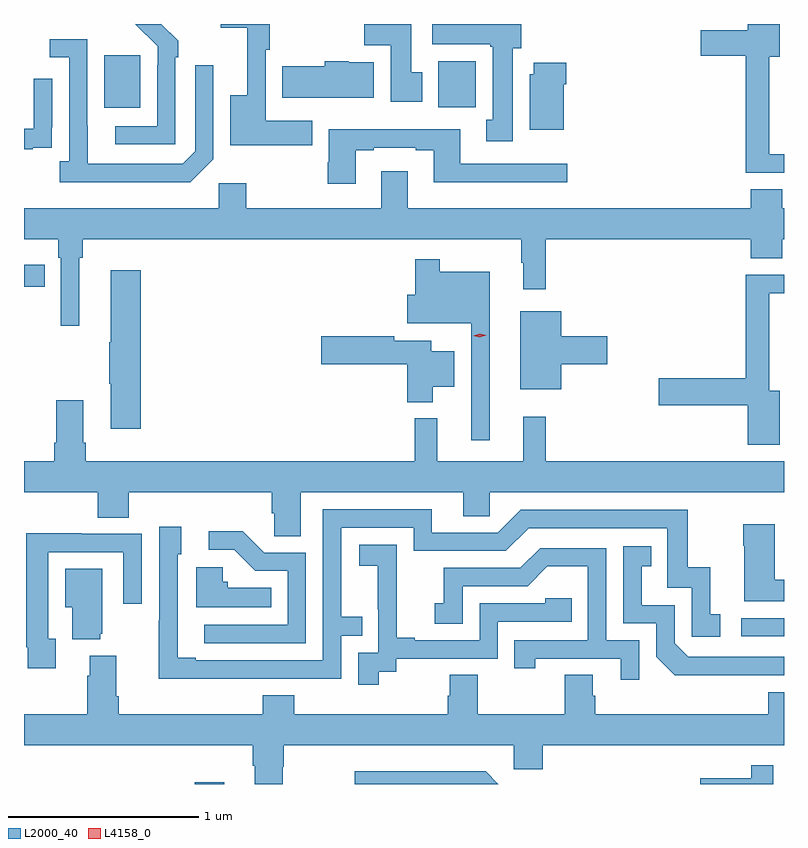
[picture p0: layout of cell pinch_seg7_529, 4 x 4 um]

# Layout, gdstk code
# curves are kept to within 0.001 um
import gdstk
lib = gdstk.Library(unit=1e-6, precision=1e-09)
def R(c, l, rs):  # rectangles x0, y0, x1, y1
    for r in rs: c.add(gdstk.rectangle(r[:2], r[2:], *l))
def P(c, l, *ps):  # polygons
    for p in ps: c.add(gdstk.Polygon(p, *l))
L2000_40 = (2000, 40)
L4158_0 = (4158, 0)

pinch_seg7_529 = lib.new_cell('pinch_seg7_529')
R(pinch_seg7_529, L2000_40, [(147.355,1073.673,147.511,1073.683), (150.231,1074.45,150.456,1074.546), (146.456,1076.29,146.564,1076.406), (146.879,1077.233,147.067,1077.508), (148.637,1077.236,148.834,1077.478)])
P(pinch_seg7_529, L2000_40, [(147.252,1077.497),(147.267,1077.497),(147.267,1077.585),(147.179,1077.673),(147.042,1077.673),(147.159,1077.555),(147.159,1077.455),(147.156,1077.455),(147.156,1077.135),(146.937,1077.135),(146.937,1077.039),(147.252,1077.039)],
  [(148.552,1077.42),(148.495,1077.42),(148.495,1077.673),(148.246,1077.673),(148.246,1077.56),(148.385,1077.56),(148.385,1077.264),(148.552,1077.264)],
  [(149.029,1077.546),(149.074,1077.546),(149.074,1077.673),(148.605,1077.673),(148.605,1077.566),(148.909,1077.566),(148.909,1077.553),(148.922,1077.553),(148.922,1077.17),(148.889,1077.17),(148.889,1077.057),(149.029,1077.057)],
  [(147.973,1077.163),(147.729,1077.163),(147.729,1077.538),(147.749,1077.538),(147.749,1077.673),(147.492,1077.673),(147.492,1077.654),(147.632,1077.654),(147.632,1077.298),(147.542,1077.298),(147.542,1077.034),(147.973,1077.034)],
  [(150.456,1076.988),(150.379,1076.988),(150.379,1077.5),(150.433,1077.5),(150.433,1077.673),(150.266,1077.673),(150.266,1077.64),(150.018,1077.64),(150.018,1077.506),(150.254,1077.506),(150.254,1076.891),(150.456,1076.891)],
  [(147.453,1076.961),(147.453,1077.457),(147.357,1077.457),(147.357,1077.003),(147.291,1076.937),(146.791,1076.937),(146.79,1077.594),(146.592,1077.594),(146.592,1077.498),(146.694,1077.498),(146.694,1076.95),(146.643,1076.95),(146.643,1076.84),(147.332,1076.84)],
  [(148.297,1077.472),(148.164,1077.472),(148.164,1077.478),(148.039,1077.478),(148.039,1077.45),(147.816,1077.45),(147.816,1077.284),(148.297,1077.284)],
  [(149.296,1077.356),(149.309,1077.356),(149.309,1077.469),(149.138,1077.469),(149.138,1077.408),(149.117,1077.408),(149.117,1077.116),(149.296,1077.116)],
  [(146.501,1077.021),(146.603,1077.021),(146.603,1077.13),(146.604,1077.13),(146.604,1077.385),(146.508,1077.385),(146.508,1077.123),(146.456,1077.123),(146.456,1077.015),(146.501,1077.015)],
  [(148.201,1077.009),(148.297,1077.009),(148.297,1077.021),(148.517,1077.021),(148.517,1077.009),(148.613,1077.009),(148.613,1076.84),(149.314,1076.84),(149.314,1076.937),(148.753,1076.937),(148.753,1077.118),(148.061,1077.118),(148.061,1076.945),(148.054,1076.945),(148.054,1076.832),(148.201,1076.832)],
  [(146.746,1076.444),(146.765,1076.444),(146.765,1076.54),(149.073,1076.54),(149.073,1076.417),(149.084,1076.417),(149.084,1076.277),(149.201,1076.277),(149.201,1076.54),(150.281,1076.54),(150.281,1076.441),(150.446,1076.441),(150.446,1076.54),(150.456,1076.54),(150.456,1076.704),(150.446,1076.704),(150.446,1076.803),(150.281,1076.803),(150.281,1076.704),(148.477,1076.704),(148.477,1076.899),(148.337,1076.899),(148.337,1076.704),(147.627,1076.704),(147.627,1076.836),(147.48,1076.836),(147.48,1076.704),(146.456,1076.704),(146.456,1076.54),(146.636,1076.54),(146.636,1076.444),(146.649,1076.444),(146.649,1076.085),(146.746,1076.085)],
  [(148.906,1076.368),(148.645,1076.368),(148.645,1076.434),(148.516,1076.434),(148.516,1076.247),(148.472,1076.247),(148.472,1076.099),(148.809,1076.099),(148.809,1075.482),(148.906,1075.482)],
  [(147.071,1076.377),(146.912,1076.377),(146.912,1075.997),(146.905,1075.997),(146.905,1075.78),(146.912,1075.78),(146.912,1075.542),(147.071,1075.542)],
  [(150.433,1075.744),(150.379,1075.744),(150.379,1076.256),(150.456,1076.256),(150.456,1076.354),(150.254,1076.354),(150.254,1075.808),(149.796,1075.808),(149.796,1075.666),(150.266,1075.666),(150.266,1075.458),(150.433,1075.458)],
  [(149.284,1075.883),(149.527,1075.883),(149.527,1076.03),(149.284,1076.03),(149.284,1076.161),(149.069,1076.161),(149.069,1075.751),(149.284,1075.751)],
  [(148.606,1075.763),(148.72,1075.763),(148.72,1075.951),(148.6,1075.951),(148.6,1076.005),(148.404,1076.005),(148.404,1076.03),(148.02,1076.03),(148.02,1075.883),(148.472,1075.883),(148.472,1075.682),(148.606,1075.682)],
  [(147.913,1075.208),(148.769,1075.208),(148.769,1075.081),(148.908,1075.081),(148.908,1075.208),(150.456,1075.208),(150.456,1075.372),(149.201,1075.372),(149.201,1075.606),(149.084,1075.606),(149.084,1075.372),(148.631,1075.372),(148.631,1075.597),(148.513,1075.597),(148.513,1075.372),(146.78,1075.372),(146.78,1075.468),(146.767,1075.468),(146.767,1075.693),(146.627,1075.693),(146.627,1075.468),(146.615,1075.468),(146.615,1075.372),(146.456,1075.372),(146.456,1075.208),(146.843,1075.208),(146.843,1075.075),(147.008,1075.075),(147.008,1075.208),(147.761,1075.208),(147.761,1075.099),(147.774,1075.099),(147.774,1074.976),(147.913,1074.976)],
  [(147.629,1074.228),(148.125,1074.228),(148.125,1074.453),(148.235,1074.453),(148.235,1074.554),(148.125,1074.554),(148.125,1075.023),(148.506,1075.023),(148.506,1074.9),(148.992,1074.9),(149.112,1075.02),(149.841,1075.02),(149.841,1074.705),(149.97,1074.705),(149.97,1074.447),(150.121,1074.447),(150.121,1074.567),(150.068,1074.567),(150.068,1074.814),(149.95,1074.814),(149.95,1075.116),(149.07,1075.116),(148.95,1074.996),(148.603,1074.996),(148.603,1075.119),(148.029,1075.119),(148.029,1074.324),(147.361,1074.324),(147.361,1074.337),(147.264,1074.337),(147.264,1074.882),(147.283,1074.882),(147.283,1075.027),(147.168,1075.027),(147.168,1074.533),(147.166,1074.533),(147.166,1074.227)],
  [(150.456,1074.749),(150.406,1074.749),(150.406,1075.039),(150.241,1075.039),(150.241,1074.926),(150.248,1074.926),(150.248,1074.635),(150.456,1074.635)],
  [(147.939,1074.891),(147.72,1074.891),(147.607,1075.004),(147.429,1075.004),(147.429,1074.906),(147.563,1074.906),(147.674,1074.795),(147.843,1074.795),(147.843,1074.51),(147.405,1074.51),(147.405,1074.414),(147.939,1074.414)],
  [(146.623,1074.438),(146.583,1074.438),(146.583,1074.894),(146.979,1074.894),(146.979,1074.621),(147.075,1074.621),(147.075,1074.99),(146.759,1074.99),(146.759,1074.992),(146.467,1074.992),(146.467,1074.394),(146.475,1074.394),(146.475,1074.282),(146.623,1074.282)],
  [(148.324,1074.265),(148.416,1074.265),(148.416,1074.333),(148.95,1074.333),(148.95,1074.528),(149.339,1074.528),(149.339,1074.651),(149.199,1074.651),(149.199,1074.624),(148.854,1074.624),(148.854,1074.429),(148.513,1074.429),(148.513,1074.442),(148.418,1074.442),(148.418,1074.725),(148.419,1074.725),(148.419,1074.931),(148.221,1074.931),(148.221,1074.821),(148.319,1074.821),(148.319,1074.593),(148.32,1074.593),(148.32,1074.363),(148.215,1074.363),(148.215,1074.195),(148.324,1074.195)],
  [(150.29,1074.246),(150.456,1074.246),(150.456,1074.342),(149.952,1074.342),(149.88,1074.414),(149.88,1074.615),(149.707,1074.615),(149.707,1074.819),(149.756,1074.819),(149.756,1074.925),(149.61,1074.925),(149.61,1074.519),(149.784,1074.519),(149.784,1074.342),(149.882,1074.245)],
  [(149.694,1074.429),(149.52,1074.429),(149.52,1074.915),(149.174,1074.915),(149.069,1074.81),(148.666,1074.81),(148.666,1074.625),(148.617,1074.625),(148.617,1074.516),(148.764,1074.516),(148.764,1074.714),(149.106,1074.714),(149.21,1074.818),(149.424,1074.818),(149.424,1074.429),(149.035,1074.429),(149.035,1074.282),(149.146,1074.282),(149.146,1074.333),(149.597,1074.333),(149.597,1074.222),(149.694,1074.222)],
  [(147.758,1074.706),(147.528,1074.706),(147.528,1074.738),(147.501,1074.738),(147.501,1074.814),(147.362,1074.814),(147.362,1074.602),(147.758,1074.602)],
  [(146.858,1074.465),(146.869,1074.465),(146.869,1074.805),(146.672,1074.805),(146.672,1074.602),(146.711,1074.602),(146.711,1074.434),(146.858,1074.434)],
  [(150.456,1074.157),(150.374,1074.157),(150.374,1074.04),(149.462,1074.04),(149.462,1074.138),(149.449,1074.138),(149.449,1074.248),(149.302,1074.248),(149.302,1074.04),(148.845,1074.04),(148.845,1074.248),(148.697,1074.248),(148.697,1074.138),(148.685,1074.138),(148.685,1074.04),(147.878,1074.04),(147.878,1074.139),(147.713,1074.139),(147.713,1074.04),(146.954,1074.04),(146.954,1074.136),(146.941,1074.136),(146.941,1074.349),(146.801,1074.349),(146.801,1074.242),(146.789,1074.242),(146.789,1074.04),(146.456,1074.04),(146.456,1073.876),(147.659,1073.876),(147.659,1073.77),(147.671,1073.77),(147.671,1073.673),(147.819,1073.673),(147.819,1073.763),(147.824,1073.763),(147.824,1073.876),(149.034,1073.876),(149.034,1073.75),(149.186,1073.75),(149.186,1073.876),(150.456,1073.876)],
  [(150.4,1073.773),(150.283,1073.773),(150.283,1073.704),(150.015,1073.704),(150.015,1073.673),(150.4,1073.673)],
  [(148.886,1073.74),(148.197,1073.74),(148.197,1073.673),(148.953,1073.673)])
P(pinch_seg7_529, L4158_0, [(148.855,1076.024),(148.82,1076.033),(148.82,1076.033),(148.82,1076.033),(148.855,1076.044),(148.89,1076.036),(148.89,1076.036),(148.89,1076.036)])

lib.write_gds('pinch_seg7_529.gds')
